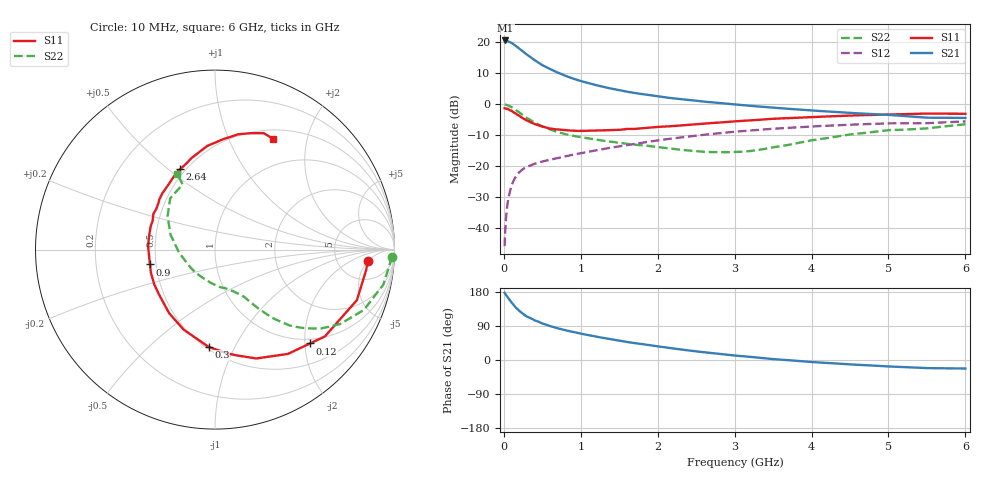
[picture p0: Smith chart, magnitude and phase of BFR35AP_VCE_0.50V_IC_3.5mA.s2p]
! Infineon Technologies  Discrete & RF Semiconductors
! BFR35AP
! VCE = 0.50 V,  IC =  3.5 mA
! Common Emitter S-Parameters:  Nov 2015
# GHz  S  MA  R  50
!  f  S11  S21  S12  S22
! GHz  MAG  ANG  MAG  ANG  MAG  ANG  MAG  ANG
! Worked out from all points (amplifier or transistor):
!   210 points, 10 MHz to 6 GHz, reference 50 ohm
!   highest |S21| = 20.5 dB at 20 MHz (marker M1)
!   |S21| within 3 dB of that: start of sweep to 220.1 MHz
!   unconditionally stable (mu >= 1): 767.4 MHz to end of sweep
!   at 185 MHz: K = 0.33, MSG = 20.3 dB, |S12| = -22.5 dB
!   at 1.52 GHz: K = 1.24, MAG = 6.0 dB, |S12| = -13.5 dB
!   at 6 GHz: K = 1.09, MAG = -1.2 dB, |S12| = -5.6 dB
!   S11 on the Smith chart (normalised r, x): 10 MHz: 11, -5; 120 MHz: 0.90, -2.12; 300 MHz: 0.52, -0.79; 900 MHz: 0.46, -0.09; 2.64 GHz: 0.47, +0.55; 6 GHz: 0.61, +1.47
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0.01  0.8545 -4.1  10.58 177.3  0.0051 86.4  0.9852 -2.3
0.02  0.8498 -7.7  10.62 173.9  0.0103 83.9  0.9774 -4.7
0.05  0.8393 -19.6  10.38 165.3  0.0258 79.0  0.9584 -11.7
0.06  0.8208 -23.1  10.2 162.7  0.0303 75.8  0.9435 -13.6
0.1  0.7804 -38.3  9.73 151.8  0.0487 69.0  0.8957 -22.0
0.12  0.7444 -44.6  9.306 147.1  0.0555 65.2  0.8594 -25.3
0.15  0.7092 -55.0  8.803 139.2  0.0661 61.0  0.8108 -30.8
0.2  0.649 -69.2  7.877 129.8  0.0793 55.7  0.7347 -36.8
0.26  0.5778 -84.3  6.874 120.1  0.0911 50.6  0.6462 -42.3
0.3  0.5434 -93.7  6.287 114.6  0.0967 48.5  0.595 -45.4
0.4  0.4789 -111.4  5.107 104.8  0.1087 45.2  0.5009 -49.8
0.5  0.4369 -125.8  4.246 96.4  0.1183 43.6  0.4361 -52.4
0.7  0.3897 -150.4  3.223 83.6  0.1344 43.0  0.3533 -55.9
0.9  0.372 -167.2  2.569 73.8  0.1527 43.2  0.3075 -58.5
1.02  0.3692 -177.2  2.314 68.8  0.163 43.5  0.2902 -60.4
1.4  0.3813 159.5  1.77 54.5  0.1987 43.4  0.2467 -68.2
2.02  0.4294 133.1  1.322 35.5  0.2613 40.3  0.2009 -87.1
2.64  0.4888 113.3  1.085 19.7  0.3236 34.6  0.1688 -118.9
3.1  0.535 102.3  0.962 10.1  0.3661 29.0  0.1706 -150.3
4.1  0.6239 84.2  0.774 -6.5  0.4412 16.3  0.2706 157.8
5.1  0.6826 71.8  0.656 -17.8  0.4885 3.6  0.3823 128.1
6  0.697 62.6  0.598 -22.5  0.5256 -5.3  0.4726 116.6
